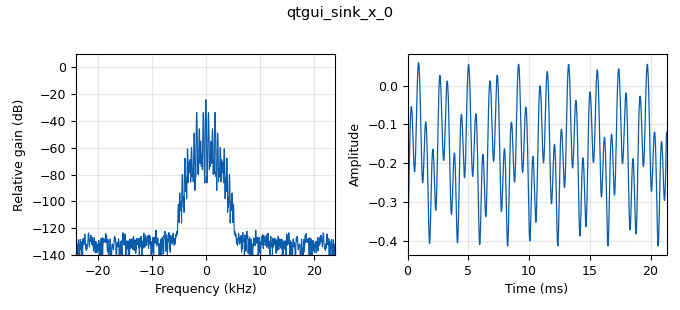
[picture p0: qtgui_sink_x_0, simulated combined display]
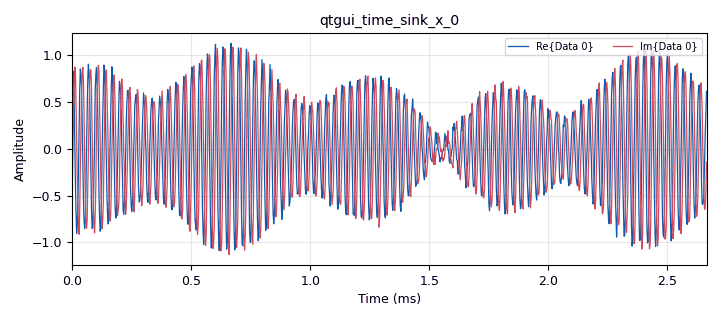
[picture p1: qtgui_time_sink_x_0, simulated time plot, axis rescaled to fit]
options:
  parameters:
    generate_options: qt_gui
    id: AM_mod_demod_2_3
    output_language: python
    title: 'AM Mod Demod: Weaker signals are not swallowed by stronger ones'
  states: {}

blocks:
- name: D
  id: variable
  parameters:
    comment: Decimation Factor
    value: '8'
  states: {}
- name: amp1700
  id: variable_qtgui_range
  parameters:
    start: '0'
    step: '0.1'
    stop: '1'
    value: '0.5'
  states: {}
- name: amp480
  id: variable_qtgui_range
  parameters:
    start: '0'
    step: '0.1'
    stop: '1'
    value: '0.5'
  states: {}
- name: samp_rate
  id: variable
  parameters:
    value: 48e3 * D
  states: {}
- name: analog_am_demod_cf_0
  id: analog_am_demod_cf
  parameters:
    audio_decim: D
    audio_pass: 2e3
    audio_stop: '5500'
    chan_rate: samp_rate
  states: {}
- name: analog_noise_source_x_0
  id: analog_noise_source_x
  parameters:
    amp: '0.05'
    noise_type: analog.GR_GAUSSIAN
    seed: '0'
    type: complex
  states: {}
- name: analog_sig_source_x_0
  id: analog_sig_source_x
  parameters:
    amp: amp480
    comment: Signal2
    freq: '480'
    offset: '0.6'
    phase: '0'
    samp_rate: samp_rate
    type: complex
    waveform: analog.GR_COS_WAVE
  states: {}
- name: analog_sig_source_x_1
  id: analog_sig_source_x
  parameters:
    amp: '1'
    comment: Carrier
    freq: 30e3
    offset: '0'
    phase: '0'
    samp_rate: samp_rate
    type: complex
    waveform: analog.GR_COS_WAVE
  states: {}
- name: analog_sig_source_x_2
  id: analog_sig_source_x
  parameters:
    amp: amp1700
    comment: Signal1
    freq: 1.7e3
    offset: '0.6'
    phase: '0'
    samp_rate: samp_rate
    type: complex
    waveform: analog.GR_COS_WAVE
  states: {}
- name: audio_sink_0
  id: audio_sink
  parameters:
    samp_rate: int(samp_rate/D)
  states: {}
- name: blocks_add_xx_0
  id: blocks_add_xx
  parameters:
    num_inputs: '3'
    type: complex
  states: {}
- name: blocks_multiply_const_vxx_0
  id: blocks_multiply_const_vxx
  parameters:
    const: '.5'
    type: complex
  states: {}
- name: blocks_multiply_const_vxx_1
  id: blocks_multiply_const_vxx
  parameters:
    const: '.5'
    type: complex
  states: {}
- name: blocks_multiply_xx_0
  id: blocks_multiply_xx
  parameters:
    comment: AM
    type: complex
  states: {}
- name: blocks_multiply_xx_1
  id: blocks_multiply_xx
  parameters:
    comment: AM
    type: complex
  states: {}
- name: blocks_throttle2_0
  id: blocks_throttle2
  parameters:
    samples_per_second: samp_rate
    type: complex
  states: {}
- name: qtgui_sink_x_0
  id: qtgui_sink_x
  parameters:
    bw: samp_rate/D
    fc: '0'
    fftsize: '1024'
    type: float
  states: {}
- name: qtgui_time_sink_x_0
  id: qtgui_time_sink_x
  parameters:
    size: '1024'
    srate: samp_rate
    type: complex
  states: {}

connections:
- [analog_am_demod_cf_0, '0', audio_sink_0, '0']
- [analog_am_demod_cf_0, '0', qtgui_sink_x_0, '0']
- [analog_noise_source_x_0, '0', blocks_add_xx_0, '1']
- [analog_sig_source_x_0, '0', blocks_multiply_xx_0, '1']
- [analog_sig_source_x_1, '0', blocks_multiply_xx_0, '0']
- [analog_sig_source_x_1, '0', blocks_multiply_xx_1, '1']
- [analog_sig_source_x_2, '0', blocks_multiply_xx_1, '0']
- [blocks_add_xx_0, '0', blocks_throttle2_0, '0']
- [blocks_add_xx_0, '0', qtgui_time_sink_x_0, '0']
- [blocks_multiply_const_vxx_0, '0', blocks_add_xx_0, '2']
- [blocks_multiply_const_vxx_1, '0', blocks_add_xx_0, '0']
- [blocks_multiply_xx_0, '0', blocks_multiply_const_vxx_0, '0']
- [blocks_multiply_xx_1, '0', blocks_multiply_const_vxx_1, '0']
- [blocks_throttle2_0, '0', analog_am_demod_cf_0, '0']

metadata:
  file_format: 1
  grc_version: 3.10.12.0
